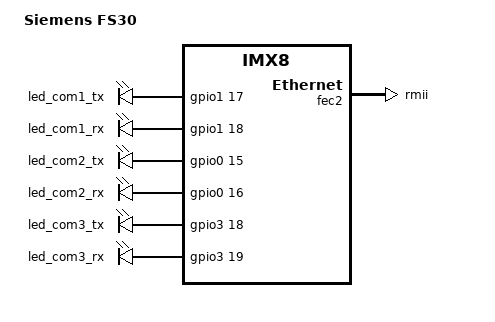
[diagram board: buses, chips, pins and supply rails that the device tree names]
// SPDX-License-Identifier: GPL-2.0+
/*
 * Copyright 2019 Siemens AG
 */

#include "imx8-capricorn.dtsi"

/ {
	model = "Siemens FS30";

	leds {
		pinctrl-names = "default";
		pinctrl-0 = <&led_pin>;
		compatible = "gpio-leds";

		led@0 {
			label = "led_com1_tx";
			gpios = <&gpio1 17 GPIO_ACTIVE_HIGH>;
			default-state = "off";
		};
		led@1 {
			label = "led_com1_rx";
			gpios = <&gpio1 18 GPIO_ACTIVE_HIGH>;
			default-state = "off";
		};
		led@2 {
			label = "led_com2_tx";
			gpios = <&gpio0 15 GPIO_ACTIVE_HIGH>;
			default-state = "off";
		};
		led@3 {
			label = "led_com2_rx";
			gpios = <&gpio0 16 GPIO_ACTIVE_HIGH>;
			default-state = "off";
		};

		led@4 {
			label = "led_com3_tx";
			gpios = <&gpio3 18 GPIO_ACTIVE_HIGH>;
			default-state = "off";
		};

		led@5 {
			label = "led_com3_rx";
			gpios = <&gpio3 19 GPIO_ACTIVE_HIGH>;
			default-state = "off";
		};
	};
};

&iomuxc {
	pinctrl-names = "default";
	led_pin: gpioledsgrp {
		fsl,pins = <
		SC_P_FLEXCAN1_RX_LSIO_GPIO1_IO17	0x26000061
		SC_P_FLEXCAN1_TX_LSIO_GPIO1_IO18	0x26000061
		SC_P_QSPI0B_DATA0_LSIO_GPIO3_IO18	0x26000061
		SC_P_QSPI0B_DATA1_LSIO_GPIO3_IO19	0x26000061
		SC_P_SPI3_SDI_LSIO_GPIO0_IO15		0x26000061
		SC_P_SPI3_CS0_LSIO_GPIO0_IO16		0x26000061
		>;
	};

	muxcgrp: imx8qxp-som {
		pinctrl_fec2: fec2grp {
			fsl,pins = <
			SC_P_COMP_CTL_GPIO_1V8_3V3_ENET_ENETB0_PAD	0x000014a0
			SC_P_COMP_CTL_GPIO_1V8_3V3_ENET_ENETB1_PAD	0x000014a0
			SC_P_COMP_CTL_GPIO_1V8_3V3_GPIORHB_PAD		0x000514a0

			SC_P_ENET0_MDC_CONN_ENET1_MDC			0x00000060
			SC_P_ENET0_MDIO_CONN_ENET1_MDIO			0x00000060

			SC_P_ESAI0_FSR_CONN_ENET1_RCLK50M_IN		0x00000060
			SC_P_SPDIF0_RX_CONN_ENET1_RGMII_RXD0		0x00000060
			SC_P_ESAI0_TX3_RX2_CONN_ENET1_RGMII_RXD1	0x00000060
			SC_P_ESAI0_TX2_RX3_CONN_ENET1_RMII_RX_ER	0x00000060
			SC_P_SPDIF0_TX_CONN_ENET1_RGMII_RX_CTL		0x00000060
			SC_P_ESAI0_TX4_RX1_CONN_ENET1_RGMII_TXD0	0x00000060
			SC_P_ESAI0_TX5_RX0_CONN_ENET1_RGMII_TXD1	0x00000060
			SC_P_ESAI0_SCKR_CONN_ENET1_RGMII_TX_CTL		0x00000060
			>;
		};
	};
};

&fec2 {
	pinctrl-names = "default";
	pinctrl-0 = <&pinctrl_fec2>;
	phy-mode = "rmii";

	fsl,magic-packet;
	status = "okay";
};
